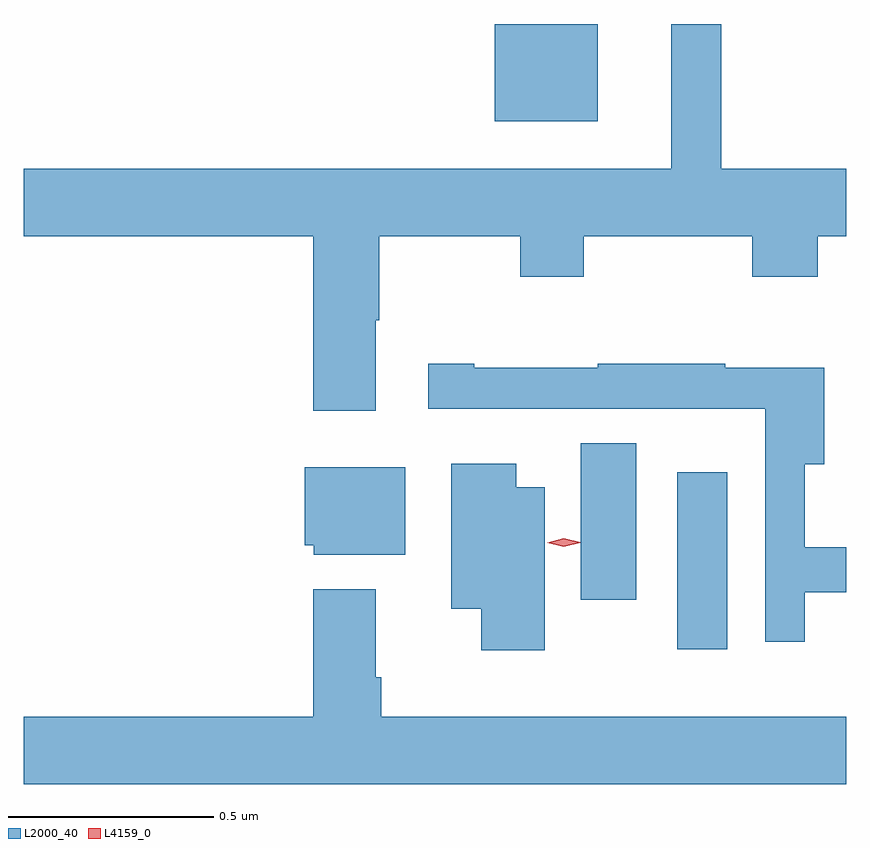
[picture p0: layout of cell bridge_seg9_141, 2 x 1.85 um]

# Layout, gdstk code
import gdstk
lib = gdstk.Library(unit=1e-6, precision=1e-09)
def R(c, l, rs):  # rectangles x0, y0, x1, y1
    for r in rs: c.add(gdstk.rectangle(r[:2], r[2:], *l))
def P(c, l, *ps):  # polygons
    for p in ps: c.add(gdstk.Polygon(p, *l))
L2000_40 = (2000, 40)
L4159_0 = (4159, 0)

bridge_seg9_141 = lib.new_cell('bridge_seg9_141')
R(bridge_seg9_141, L2000_40, [(432.65,1198.08,432.772,1198.51), (432.416,1198.2,432.55,1198.58), (432.206,1199.363,432.457,1199.6)])
P(bridge_seg9_141, L2000_40, [(431.917,1198.88),(431.925,1198.88),(431.925,1199.084),(432.268,1199.084),(432.268,1198.985),(432.423,1198.985),(432.423,1199.084),(432.832,1199.084),(432.832,1198.985),(432.992,1198.985),(432.992,1199.084),(433.061,1199.084),(433.061,1199.248),(432.757,1199.248),(432.757,1199.6),(432.635,1199.6),(432.635,1199.248),(431.061,1199.248),(431.061,1199.084),(431.765,1199.084),(431.765,1198.659),(431.917,1198.659)],
  [(432.96,1198.218),(433.061,1198.218),(433.061,1198.328),(432.96,1198.328),(432.96,1198.529),(433.007,1198.529),(433.007,1198.764),(432.767,1198.764),(432.767,1198.774),(432.457,1198.774),(432.457,1198.764),(432.157,1198.764),(432.157,1198.774),(432.045,1198.774),(432.045,1198.664),(432.32,1198.664),(432.32,1198.665),(432.654,1198.665),(432.654,1198.664),(432.864,1198.664),(432.864,1198.098),(432.96,1198.098)],
  [(432.328,1198.474),(432.259,1198.474),(432.259,1198.531),(432.101,1198.531),(432.101,1198.178),(432.173,1198.178),(432.173,1198.077),(432.328,1198.077)],
  [(431.989,1198.522),(431.744,1198.522),(431.744,1198.332),(431.766,1198.332),(431.766,1198.31),(431.989,1198.31)],
  [(433.061,1197.916),(431.93,1197.916),(431.93,1198.012),(431.917,1198.012),(431.917,1198.225),(431.765,1198.225),(431.765,1197.916),(431.061,1197.916),(431.061,1197.752),(433.061,1197.752)])
P(bridge_seg9_141, L4159_0, [(432.374,1198.329),(432.334,1198.339),(432.334,1198.339),(432.334,1198.339),(432.374,1198.349),(432.414,1198.34),(432.414,1198.339),(432.414,1198.339)])

lib.write_gds('bridge_seg9_141.gds')
